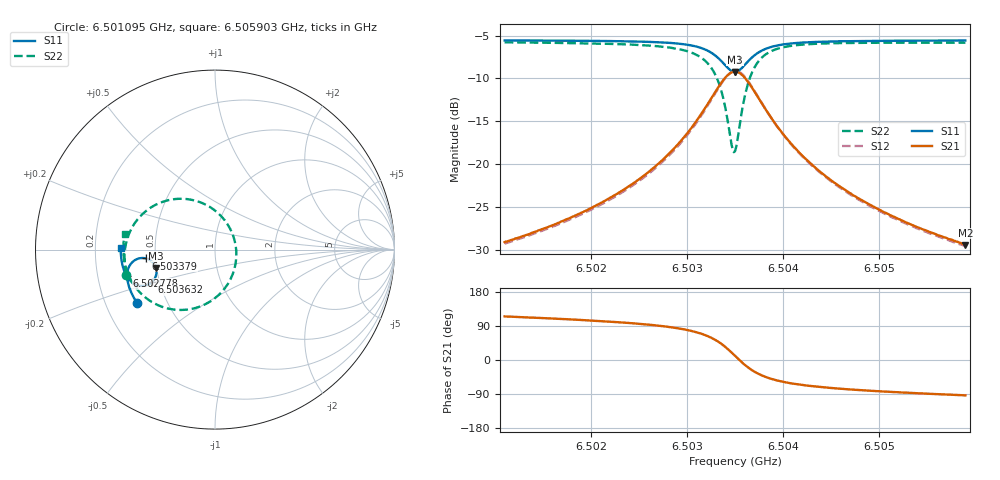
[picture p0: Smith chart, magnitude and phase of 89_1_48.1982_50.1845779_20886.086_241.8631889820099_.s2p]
#  HZ  S  RI  R  50.00
! Rohde & Schwarz Vector Network Analyzer
! Rohde-Schwarz,ZNB20-2Port,1311601062101988,3.16
! Created: UTC 3/20/2024, 11:40:00 AM
! freq[Hz]  re:S11  im:S11  re:S21  im:S21  re:S12  im:S12  re:S22  im:S22
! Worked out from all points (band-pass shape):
!   401 points, 6.501095 GHz to 6.505903 GHz, reference 50 ohm
!   highest |S21| = -9.21 dB at 6.503499 GHz (marker M1); lowest = -29.4 dB at 6.505903 GHz (marker M2)
!   |S21| within 3 dB of the highest: 6.503258 GHz to 6.50374 GHz (482 kHz wide, 0.00741 % of centre)
!   lowest |S11| = -9.2 dB at 6.503499 GHz (marker M3), VSWR 2.05, Z = 24.8 - j5.75 ohm
!   |S11| at or under -10 dB: nowhere
!   |S22| runs from -18.6 to -5.8 dB; largest |S21 - S12| = 0.012
!   S11 on the Smith chart (normalised r, x): 6.501095 GHz: 0.34, -0.28; 6.502778 GHz: 0.33, -0.13; 6.503379 GHz: 0.44, -0.05; 6.503632 GHz: 0.45, -0.19; 6.505903 GHz: 0.31, +0.01
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6.5010953e9  -0.4328 -0.2998  -0.0148 0.0318  -0.013 0.0318  -0.494 -0.1399
6.5019007e9  -0.4665 -0.2389  -0.0139 0.0502  -0.0115 0.0498  -0.5044 -0.0514
6.5023454e9  -0.4817 -0.1984  -0.0106 0.0706  -0.00749 0.0694  -0.4996 0.0148
6.5027061e9  -0.4893 -0.157  -0.000801 0.1012  0.00276 0.0988  -0.4777 0.0907
6.5027782e9  -0.4897 -0.147  0.00324 0.1104  0.00697 0.1074  -0.4688 0.1105
6.5029825e9  -0.4858 -0.1135  0.0252 0.1448  0.029 0.1404  -0.4227 0.1786
6.5031388e9  -0.4704 -0.0813  0.0658 0.1815  0.0686 0.1754  -0.3438 0.2427
6.503283e9  -0.4314 -0.0516  0.1496 0.2102  0.1503 0.204  -0.1908 0.2832
6.5033792e9  -0.384 -0.0492  0.2429 0.1928  0.2432 0.1879  -0.0287 0.2377
6.5034633e9  -0.3404 -0.0795  0.3225 0.1159  0.3251 0.1116  0.0981 0.0858
6.5034994e9  -0.3293 -0.1023  0.3401 0.0659  0.3441 0.0604  0.1187 -0.00832
6.5035234e9  -0.3264 -0.1188  0.3435 0.0305  0.3476 0.0236  0.1155 -0.0732
6.5035595e9  -0.3286 -0.1433  0.3356 -0.0206  0.3392 -0.0299  0.0868 -0.1642
6.5036316e9  -0.3516 -0.1812  0.2875 -0.0982  0.2875 -0.1101  -0.0267 -0.2893
6.5036797e9  -0.3725 -0.1951  0.2466 -0.1273  0.2436 -0.139  -0.1129 -0.3263
6.5037398e9  -0.3979 -0.2019  0.1986 -0.1442  0.1931 -0.1541  -0.2071 -0.3359
6.5038961e9  -0.4461 -0.1925  0.1129 -0.1399  0.1055 -0.1451  -0.3616 -0.2857
6.5040644e9  -0.4742 -0.1712  0.0665 -0.1182  0.0599 -0.1206  -0.4365 -0.2177
6.5043048e9  -0.4954 -0.1414  0.0352 -0.0924  0.0302 -0.0929  -0.4812 -0.1432
6.5046894e9  -0.5119 -0.1003  0.0148 -0.0667  0.0113 -0.0662  -0.505 -0.0628
6.5051101e9  -0.5207 -0.0609  0.00532 -0.0504  0.00296 -0.0497  -0.5108 -0.00106
6.5059035e9  -0.5261 0.00701  -0.00195 -0.0338  -0.00332 -0.0331  -0.5037 0.0857
